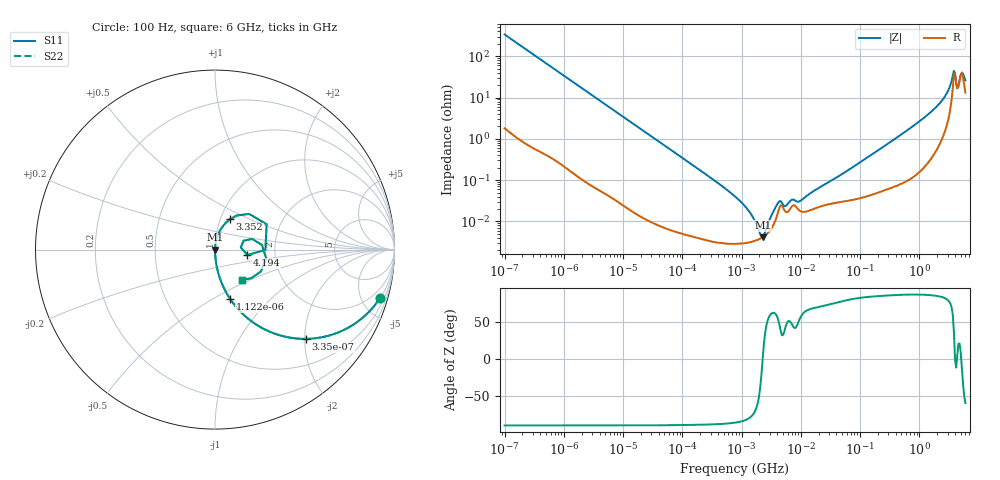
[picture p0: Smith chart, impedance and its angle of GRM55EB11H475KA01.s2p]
!Murata Part Number: GRM55EB11H475KA01
!These Parameters are Measured in Series Mode Connection
!Data Generated on Mar 30, 2021
!  o--ll--o
!Port1  Port2
!  o------o
!Operation Temp=25[degC], DC Bias Voltage=0[V]
!Freq. Start=100[Hz] Stop=6[GHz] 401[Steps]
# Hz S RI R 50
!Freq.(Hz) S11(Real) S11(Imag) S21(Real) S21(Imag) S12(Real) S12(Imag) S22(Real) S22(Imag)
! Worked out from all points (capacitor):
!   401 points, 100 Hz to 6 GHz, reference 50 ohm
!   read as one part in series: C = 4.71 uF near 109 Hz
!   lowest |Z| = 4.14 mohm at 2.269 MHz (marker M1)
!   series resonance near 4.008 GHz, so ESL is about 0.33 fH
!   S11 on the Smith chart (normalised r, x): 100 Hz: 1.04, -6.75; 335 Hz: 1.01, -2.02; 1.122 kHz: 1.00, -0.61; 3.352 GHz: 1.11, +0.39; 4.194 GHz: 1.44, -0.09; 6 GHz: 1.26, -0.45
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100  0.918 -0.2717  0.082 0.2717  0.082 0.2717  0.918 -0.2717
179  0.7798 -0.4119  0.2202 0.4119  0.2202 0.4119  0.7798 -0.4119
335  0.5053 -0.4973  0.4947 0.4973  0.4947 0.4973  0.5053 -0.4973
1122  0.0857 -0.2767  0.9143 0.2767  0.9143 0.2767  0.0857 -0.2767
2008  0.029 -0.1647  0.971 0.1647  0.971 0.1647  0.029 -0.1647
40335  0.000152 -0.00855  0.9998 0.00855  0.9998 0.00855  0.000152 -0.00855
774597  2.86e-05 -0.000401  1 0.000401  1 0.000401  2.86e-05 -0.000401
1734173  3.43e-05 -8.62e-05  1 8.62e-05  1 8.62e-05  3.43e-05 -8.62e-05
2268635  4.14e-05 0  1 0  1 0  4.14e-05 0
2837864  5.41e-05 7.61e-05  0.9999 -7.61e-05  0.9999 -7.61e-05  5.41e-05 7.61e-05
4246196  0.000191 0.000227  0.9998 -0.000227  0.9998 -0.000227  0.000191 0.000227
5554849  0.00017 0.000162  0.9998 -0.000162  0.9998 -0.000162  0.00017 0.000162
6948629  0.000222 0.000245  0.9998 -0.000245  0.9998 -0.000245  0.000222 0.000245
9506416  0.000183 0.000244  0.9998 -0.000244  0.9998 -0.000244  0.000183 0.000244
1.555665e7  0.000194 0.000477  0.9998 -0.000477  0.9998 -0.000477  0.000194 0.000477
3.124326e8  0.000687 0.00803  0.9993 -0.00803  0.9993 -0.00803  0.000687 0.00803
1.712697e9  0.00633 0.0493  0.9937 -0.0493  0.9937 -0.0493  0.00633 0.0493
2.562649e9  0.0205 0.091  0.9795 -0.091  0.9795 -0.091  0.0205 0.091
3.352442e9  0.0828 0.1689  0.9172 -0.1689  0.9172 -0.1689  0.0828 0.1689
3.666503e9  0.1901 0.199  0.8099 -0.199  0.8099 -0.199  0.1901 0.199
4.193612e9  0.1808 -0.0303  0.8192 0.0303  0.8192 0.0303  0.1808 -0.0303
6e9  0.1494 -0.1683  0.8506 0.1683  0.8506 0.1683  0.1494 -0.1683
